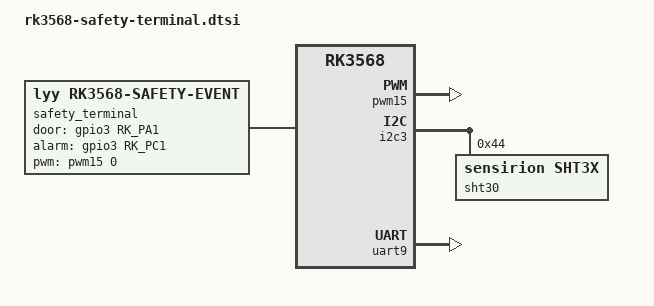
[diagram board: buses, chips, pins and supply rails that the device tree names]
// SPDX-License-Identifier: GPL-2.0

#include <dt-bindings/gpio/gpio.h>
#include <dt-bindings/pinctrl/rockchip.h>

/ {
    safety_terminal: safety-terminal {
        compatible = "lyy,rk3568-safety-event";
        status = "okay";

        /*
         * 磁铁贴合时接点闭合并拉低：logical inactive，不报警。
         * 磁铁分离时接点断开并由上拉保持高电平：logical active。
         */
        door-gpios = <&gpio3 RK_PA1 GPIO_ACTIVE_HIGH>;

        /*
         * 由 safety_event 外部模块独占报警输出，不能再由 gpio-leds
         * 或用户态 sysfs 同时申请/控制 GPIO3_C1。
         */
        alarm-gpios = <&gpio3 RK_PC1 GPIO_ACTIVE_HIGH>;
        pwms = <&pwm15 0 500000 0>;
        pwm-names = "alarm";

        /* BH1750 已通过 i2cdetect -y 3 在 0x23 真实验证。 */
        bh1750-bus-num = <3>;
        bh1750-addr = <0x23>;
        lux-low-threshold = <30>;
        lux-recover-threshold = <50>;
        lux-sample-period-ms = <1000>;

        pinctrl-names = "default";
        pinctrl-0 = <&safety_terminal_door_pin
                     &safety_terminal_alarm_led_pin>;
    };
};

&pinctrl {
    safety_event {
        safety_terminal_door_pin: safety-terminal-door-pin {
            rockchip,pins = <RK_GPIO3 RK_PA1 RK_FUNC_GPIO &pcfg_pull_up>;
        };

        safety_terminal_alarm_led_pin: safety-terminal-alarm-led-pin {
            rockchip,pins = <RK_GPIO3 RK_PC1 RK_FUNC_GPIO &pcfg_pull_none>;
        };
    };
};

&pwm15 {
    /* JP11-20: GPIO3_C5 复用为 PWM15 M0 输出。 */
    pinctrl-names = "active";
    pinctrl-0 = <&pwm15m0_pins>;
    status = "okay";
};

&i2c3 {
    sht30: sht3x@44 {
        compatible = "sensirion,sht3x";
        reg = <0x44>;
        status = "okay";
    };
};
&uart9 {
    /* JP11-10/12: UART9 M1, 3.3 V TTL, for LD2410B. */
    pinctrl-names = "default";
    pinctrl-0 = <&uart9m1_xfer>;
    status = "okay";
};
